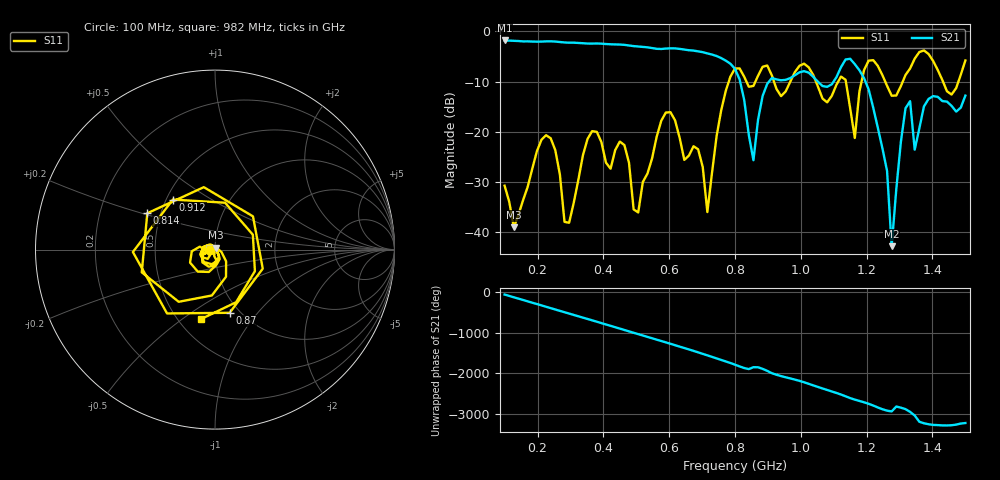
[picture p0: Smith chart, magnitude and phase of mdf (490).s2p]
! NanoVNA-App
! Date: 2025-09-25 15:42:14
! Start: 100MHz Stop: 1,5GHz Points: 101
! S-Parameter data: F S11 S21 S12 S22
# Hz S RI R 50
!  Frequency  S11_Real  S11_Imag  S21_Real  S21_Imag  S12_Real  S12_Imag  S22_Real  S22_Imag
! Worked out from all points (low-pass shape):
!   101 points, 100 MHz to 1.5 GHz, reference 50 ohm
!   highest |S21| = -1.80 dB at 100 MHz (marker M1); lowest = -42.8 dB at 1.276 GHz (marker M2)
!   |S21| within 3 dB of the highest: start of sweep to 739.3 MHz
!   lowest |S11| = -39.0 dB at 128 MHz (marker M3), VSWR 1.02, Z = 50.3 + j1.08 ohm
!   |S11| at or under -10 dB: start of sweep to 781.1 MHz; 918.4 MHz to 968 MHz (49.64 MHz wide, 5.26 % of centre); 1.046 GHz to 1.114 GHz (67.66 MHz wide, 6.27 % of centre) (the widest 3 of 7)
!   S12 and S22 are empty: the file has one direction only
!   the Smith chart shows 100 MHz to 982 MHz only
!   S11 on the Smith chart (normalised r, x): 100 MHz: 0.94, -0.01; 814 MHz: 0.42, +0.21; 870 MHz: 0.90, -0.73; 912 MHz: 0.54, +0.35; 982 MHz: 0.65, -0.59
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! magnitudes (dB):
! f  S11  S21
! 100 MHz  -30.7  -1.8
! 128 MHz  -39.0  -1.9
! 212 MHz  -21.6  -2.0
! 282 MHz  -37.9  -2.2
! 338 MHz  -24.7  -2.3
! 464 MHz  -22.6  -2.7
! 506 MHz  -36.1  -3.0
! 576 MHz  -17.8  -3.5
! 716 MHz  -36.0  -4.4
! 800 MHz  -7.4  -7.5
! 814 MHz  -7.4  -9.6
! 856 MHz  -10.9  -25.7
! 870 MHz  -8.8  -17.6
! 912 MHz  -8.8  -9.3
! 982 MHz  -8.1  -8.7
! 1.038 GHz  -8.7  -9.1
! 1.164 GHz  -21.2  -6.5
! 1.192 GHz  -7.7  -9.3
! 1.262 GHz  -10.8  -27.8
! 1.276 GHz  -12.8  -42.8
! 1.318 GHz  -8.7  -15.3
! 1.5 GHz  -5.8  -12.8
